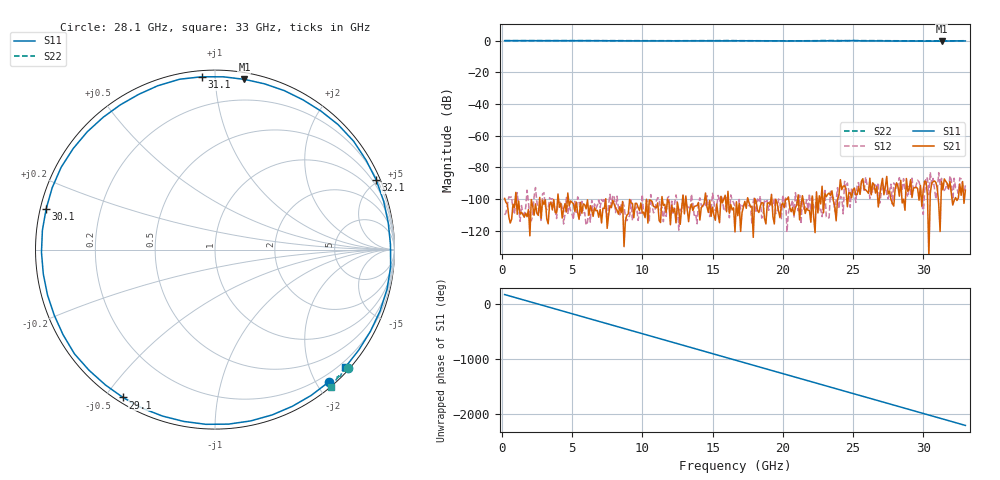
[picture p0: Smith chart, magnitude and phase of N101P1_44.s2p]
# GHZ S RI R 50
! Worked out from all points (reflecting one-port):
!   329 points, 200 MHz to 33 GHz, reference 50 ohm
!   lowest |S11| = -0.3 dB at 31.3 GHz (marker M1), VSWR 52.39, Z = 2.3 + j59.3 ohm
!   phase of S11 starts at 165 deg and turns -2368 deg over the sweep
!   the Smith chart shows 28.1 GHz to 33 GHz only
!   S11 on the Smith chart (normalised r, x): 28.1 GHz: 0.08, -2.17; 29.1 GHz: 0.02, -0.56; 30.1 GHz: 0.02, +0.12; 31.1 GHz: 0.03, +0.93; 32.1 GHz: 0.27, +4.82; 33 GHz: 0.09, -2.59
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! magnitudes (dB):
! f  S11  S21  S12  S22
! 200 MHz  0.0  -99.7  -110.2  0.0
! 5.7 GHz  0.0  -109.1  -101.5  0.0
! 11.2 GHz  -0.2  -113.7  -99.8  -0.1
! 16.6 GHz  -0.1  -120.9  -104.9  0.0
! 22.1 GHz  -0.2  -98.2  -97.6  -0.1
! 23 GHz  -0.2  -96.6  -94.7  0.0
! 23.4 GHz  0.0  -98.0  -95.3  0.1
! 23.6 GHz  -0.2  -101.1  -99.1  0.0
! 23.9 GHz  -0.2  -100.1  -92.9  0.1
! 24 GHz  -0.3  -97.6  -106.2  0.0
! 24.2 GHz  -0.1  -94.2  -99.1  0.0
! 24.6 GHz  -0.1  -105.0  -89.9  0.0
! 25 GHz  0.1  -94.2  -95.1  0.0
! 25.6 GHz  -0.2  -88.8  -89.7  0.0
! 27.6 GHz  -0.2  -95.2  -94.9  -0.1
! 28.1 GHz  -0.2  -89.8  -93.6  -0.1
! 29.1 GHz  -0.3  -87.9  -97.2  -0.2
! 30.1 GHz  -0.3  -88.7  -95.2  -0.1
! 31.1 GHz  -0.3  -103.1  -83.4  -0.2
! 31.3 GHz  -0.3  -89.1  -87.1  -0.1
! 32.1 GHz  -0.2  -103.9  -103.2  -0.2
! 33 GHz  -0.2  -94.5  -91.3  0.0
